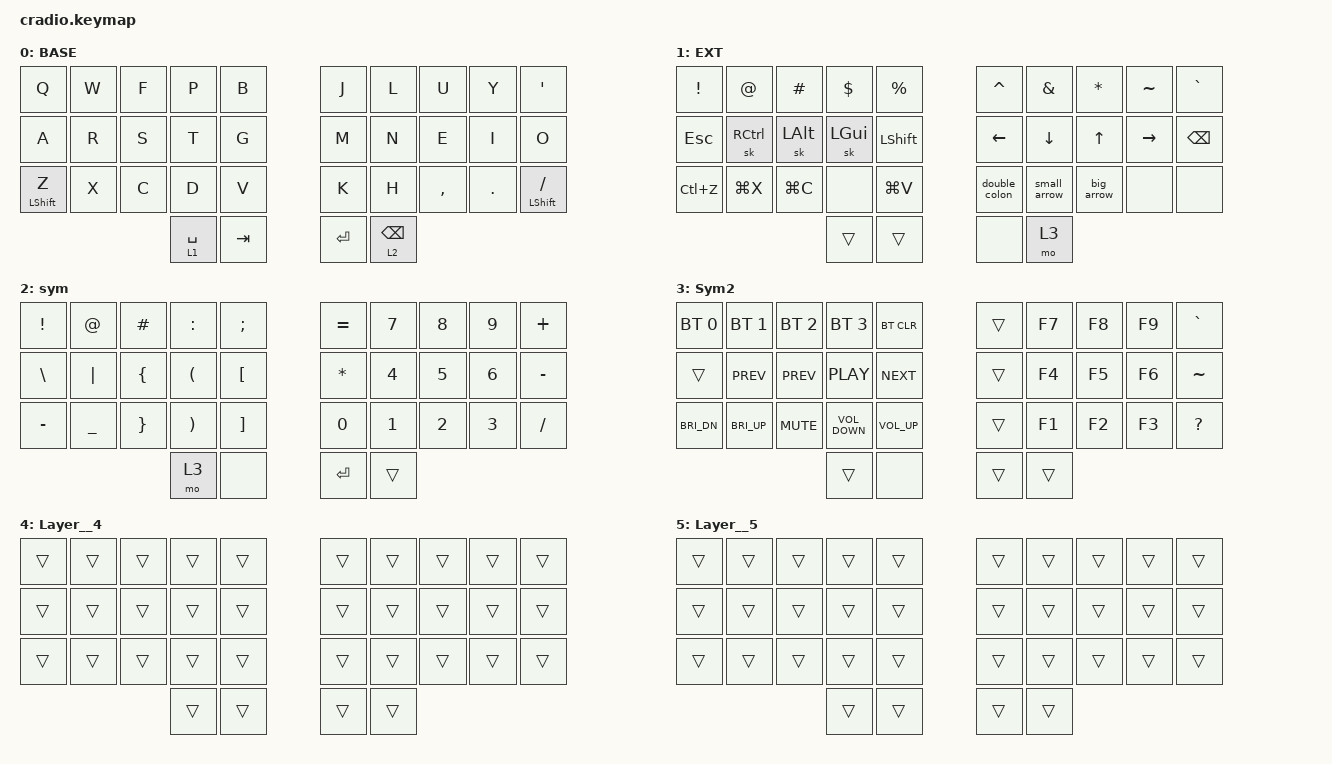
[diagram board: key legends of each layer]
/*
 * Copyright (c) 2020 The ZMK Contributors
 *
 * SPDX-License-Identifier: MIT
 */

#include <behaviors.dtsi>
#include <dt-bindings/zmk/keys.h>
#include <dt-bindings/zmk/bt.h>

&mt {
      flavor = "tap-preferred";
      tapping_term_ms = <150>;
};

/ {
    combos {
        compatible = "zmk,combos";

        combo_esc {
            timeout-ms = <50>;
            key-positions = <0 1>;
            bindings = <&kp ESC>;
        };

        combo_tab {
            timeout-ms = <50>;
            key-positions = <11 13>;
            bindings = <&kp LCTRL>;
        };

        combo_ralt {
            timeout-ms = <50>;
            key-positions = <17 18>;
            bindings = <&kp RALT>;
        };

        combo_lalt {
            timeout-ms = <50>;
            key-positions = <11 12>;
            bindings = <&kp LALT>;
        };

        combo_lgui {
            timeout-ms = <50>;
            key-positions = <12 13>;
            bindings = <&kp LGUI>;
        };

        combo_rgui {
            timeout-ms = <50>;
            key-positions = <17 16>;
            bindings = <&kp RGUI>;
        };

        new_combo {
            bindings = <&kp RCTRL>;
            key-positions = <18 16>;
        };
    };

    macros {
        small_arrow: small_arrow {
            compatible = "zmk,behavior-macro";
            label = "small_arrow";
            #binding-cells = <0>;
            bindings = <&kp MINUS &kp GREATER_THAN>;
            wait-ms = <10>;
        };
        big_arrow: big_arrow {
            compatible = "zmk,behavior-macro";
            label = "big_arrow";
            #binding-cells = <0>;
            bindings = <&kp EQUAL &kp GREATER_THAN>;
            wait-ms = <10>;
        };
        double_colon: double_colon {
            compatible = "zmk,behavior-macro";
            label = "double_colon";
            #binding-cells = <0>;
            bindings = <&kp COLON &kp COLON>;
            wait-ms = <10>;
        };
    };

    keymap {
        compatible = "zmk,keymap";

        BASE {
            bindings = <
       &kp Q  &kp W  &kp F        &kp P    &kp B      &kp J            &kp L      &kp U    &kp Y           &kp SQT
       &kp A  &kp R  &kp S        &kp T    &kp G      &kp M            &kp N      &kp E    &kp I             &kp O
&mt LSHIFT Z  &kp X  &kp C        &kp D    &kp V      &kp K            &kp H  &kp COMMA  &kp DOT  &mt LSHIFT SLASH
                            &lt 1 SPACE  &kp TAB  &kp ENTER  &lt 2 BACKSPACE
            >;
        };

        EXT {
            bindings = <
&kp EXCLAMATION  &kp AT_SIGN      &kp HASH    &kp DOLLAR  &kp PERCENT      &kp CARET  &kp AMPERSAND  &kp ASTERISK  &kp TILDE      &kp GRAVE
        &kp ESC    &sk RCTRL  &sk LEFT_ALT  &sk LEFT_GUI   &kp LSHIFT       &kp LEFT       &kp DOWN        &kp UP  &kp RIGHT  &kp BACKSPACE
      &kp LC(Z)    &kp LG(X)     &kp LG(C)         &none    &kp LG(V)  &double_colon   &small_arrow    &big_arrow      &none          &none
                                                  &trans       &trans          &none          &mo 3
            >;
        };

        sym {
            bindings = <
 &kp EXCL     &kp AT  &kp HASH  &kp COLON  &kp SEMICOLON     &kp EQUAL  &kp N7  &kp N8  &kp N9   &kp PLUS
 &kp BSLH   &kp PIPE  &kp LBRC   &kp LPAR       &kp LBKT  &kp ASTERISK  &kp N4  &kp N5  &kp N6  &kp MINUS
&kp MINUS  &kp UNDER  &kp RBRC   &kp RPAR       &kp RBKT        &kp N0  &kp N1  &kp N2  &kp N3   &kp FSLH
                                    &mo 3          &none     &kp ENTER  &trans
            >;
        };

        Sym2 {
            bindings = <
&bt BT_SEL 0  &bt BT_SEL 1  &bt BT_SEL 2       &bt BT_SEL 3    &bt BT_CLR  &trans  &kp F7  &kp F8  &kp F9     &kp GRAVE
      &trans    &kp K_PREV    &kp C_PREV         &kp C_PLAY    &kp C_NEXT  &trans  &kp F4  &kp F5  &kp F6     &kp TILDE
&kp C_BRI_DN  &kp C_BRI_UP    &kp C_MUTE  &kp C_VOLUME_DOWN  &kp C_VOL_UP  &trans  &kp F1  &kp F2  &kp F3  &kp QUESTION
                                                     &trans         &none  &trans  &trans
            >;
        };

        Layer__4 {
            bindings = <
&trans  &trans  &trans  &trans  &trans  &trans  &trans  &trans  &trans  &trans
&trans  &trans  &trans  &trans  &trans  &trans  &trans  &trans  &trans  &trans
&trans  &trans  &trans  &trans  &trans  &trans  &trans  &trans  &trans  &trans
                        &trans  &trans  &trans  &trans
            >;
        };

        Layer__5 {
            bindings = <
&trans  &trans  &trans  &trans  &trans  &trans  &trans  &trans  &trans  &trans
&trans  &trans  &trans  &trans  &trans  &trans  &trans  &trans  &trans  &trans
&trans  &trans  &trans  &trans  &trans  &trans  &trans  &trans  &trans  &trans
                        &trans  &trans  &trans  &trans
            >;
        };
    };
};
